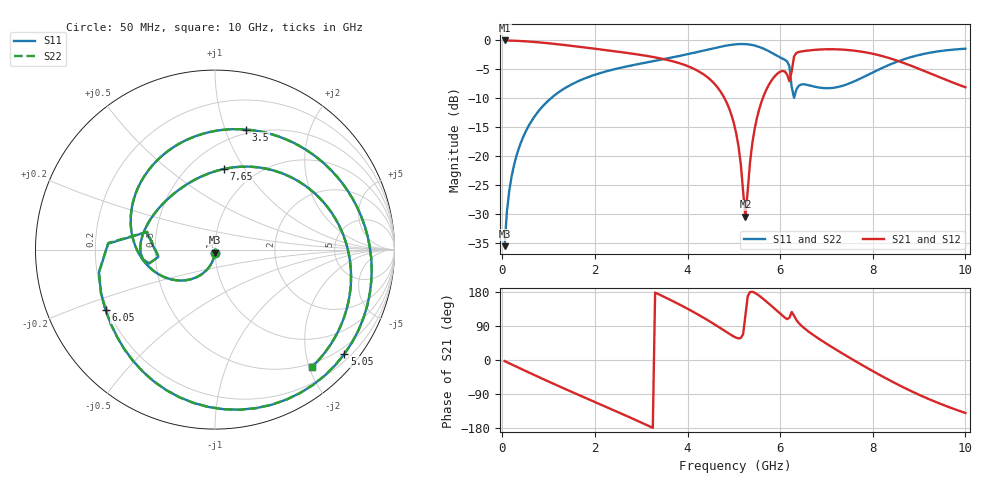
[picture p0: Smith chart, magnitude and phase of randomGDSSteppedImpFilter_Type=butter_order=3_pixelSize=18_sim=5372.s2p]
! freq	dB(S11)	phase(S11)	dB(S12)	phase(S12)
!  dB(S21)	phase(S21)	dB(S22)	phase(S22)
!S-par simulation data
#  GHz  S  DB  R 50
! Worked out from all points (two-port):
!   200 points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, 50 MHz to 10 GHz, reference 50 ohm
!   highest |S21| = 0.00 dB at 50 MHz (marker M1); lowest = -30.5 dB at 5.25 GHz (marker M2)
!   |S21| within 3 dB of the highest: start of sweep to 3.347 GHz; 6.296 GHz to 8.333 GHz (2.037 GHz wide, 27.9 % of centre)
!   lowest |S11| = -35.6 dB at 50 MHz (marker M3), VSWR 1.03, Z = 49.9 - j1.65 ohm
!   |S11| at or under -10 dB: start of sweep to 1.053 GHz
!   |S22| runs from -35.6 to -0.6 dB; largest |S21 - S12| = 0
!   S11 on the Smith chart (normalised r, x): 50 MHz: 1.00, -0.03; 3.5 GHz: 0.46, +1.18; 5.05 GHz: 0.34, -2.80; 6.05 GHz: 0.19, -0.25; 7.65 GHz: 0.72, +0.81; 10 GHz: 0.44, -2.06
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0.05  -35.62 -92.7  -0.00 -2.9  -0.00 -2.9  -35.58 -92.8
0.2  -23.59 -102.0  -0.04 -11.6  -0.04 -11.6  -23.59 -101.8
0.5  -15.87 -119.3  -0.15 -28.8  -0.15 -28.8  -15.85 -119.2
1.1  -9.68 -153.1  -0.58 -62.4  -0.58 -62.4  -9.68 -153.0
1.75  -6.68 171.7  -1.19 -97.6  -1.19 -97.6  -6.68 171.7
2.65  -4.56 123.5  -2.12 -145.7  -2.12 -145.7  -4.56 123.5
3.4  -3.37 81.5  -3.09 172.2  -3.09 172.2  -3.37 81.5
3.5  -3.21 75.6  -3.26 166.4  -3.26 166.4  -3.21 75.6
4.3  -1.84 23.8  -5.63 114.9  -5.63 114.9  -1.84 23.8
5.05  -0.66 -38.9  -16.05 58.9  -16.05 58.9  -0.66 -39.0
5.25  -0.64 -59.2  -30.51 119.0  -30.51 119.0  -0.64 -59.4
5.5  -1.00 -86.6  -13.39 173.8  -13.39 173.8  -1.00 -86.7
6.05  -3.15 -151.2  -5.28 117.3  -5.28 117.3  -3.15 -151.5
6.2  -4.48 176.8  -7.06 111.5  -7.06 111.5  -4.50 176.4
6.25  -8.10 165.7  -5.33 126.8  -5.33 126.8  -8.17 165.3
6.3  -9.94 -172.7  -2.78 116.9  -2.78 116.9  -10.00 -172.6
6.7  -7.92 159.5  -1.66 67.3  -1.66 67.3  -7.92 159.3
7.2  -8.14 117.8  -1.54 27.8  -1.54 27.8  -8.14 117.7
7.65  -6.91 83.9  -1.82 -4.9  -1.82 -4.9  -6.91 83.8
8.35  -4.24 36.0  -3.05 -52.6  -3.05 -52.6  -4.24 35.9
9.15  -2.25 -10.7  -5.42 -99.9  -5.42 -99.9  -2.25 -10.8
10  -1.43 -50.2  -8.10 -139.8  -8.10 -139.8  -1.43 -50.3
